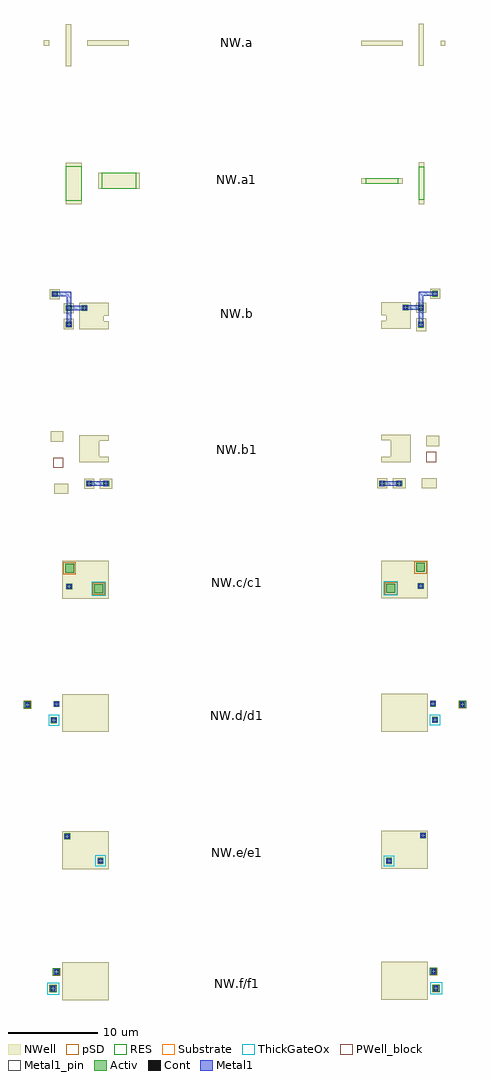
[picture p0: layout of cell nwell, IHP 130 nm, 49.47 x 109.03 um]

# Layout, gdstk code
from math import pi, radians
import gdstk
lib = gdstk.Library(unit=1e-6, precision=1e-09)
def R(c, l, rs):  # rectangles x0, y0, x1, y1
    for r in rs: c.add(gdstk.rectangle(r[:2], r[2:], *l))
def P(c, l, *ps):  # polygons
    for p in ps: c.add(gdstk.Polygon(p, *l))
Activ = (1, 0)
Cont = (6, 0)
Metal1 = (8, 0)
Metal1_pin = (8, 2)
pSD = (14, 0)
RES = (24, 0)
NWell = (31, 0)
Substrate = (40, 0)
ThickGateOx = (44, 0)
PWell_block = (46, 21)

ptap1_cdns_695810369580 = lib.new_cell('ptap1_CDNS_695810369580')
R(ptap1_cdns_695810369580, Activ, [(0,0,0.78,0.78)])
R(ptap1_cdns_695810369580, Cont, [(0.14,0.14,0.3,0.3), (0.48,0.14,0.64,0.3), (0.14,0.48,0.3,0.64), (0.48,0.48,0.64,0.64)])
R(ptap1_cdns_695810369580, Metal1, [(0.14,0.09,0.64,0.69)])
R(ptap1_cdns_695810369580, Metal1_pin, [(0.14,0.14,0.64,0.64)])
R(ptap1_cdns_695810369580, pSD, [(-0.03,-0.03,0.81,0.81)])
R(ptap1_cdns_695810369580, Substrate, [(0,0,0.78,0.78)])
ptap1_cdns_695810369580.add(gdstk.Label('sub!', (0.39,0.01), layer=63, texttype=0))

m1_activ_cdns_6958103695 = lib.new_cell('M1_Activ_CDNS_695810369580')
R(m1_activ_cdns_6958103695, Activ, [(-0.32,-0.32,0.32,0.32)])
R(m1_activ_cdns_6958103695, Cont, [(-0.25,-0.25,-0.09,-0.09), (0.09,-0.25,0.25,-0.09), (-0.25,0.09,-0.09,0.25), (0.09,0.09,0.25,0.25)])
R(m1_activ_cdns_6958103695, Metal1, [(-0.3,-0.25,0.3,0.25)])

nwell_pass = lib.new_cell('nwell_pass')
R(nwell_pass, Activ, [(-15.825,-73.755,-14.825,-72.755), (-19.1,-71.46,-18.1,-70.46)])
R(nwell_pass, Metal1, [(-20.675,-118.235,-20.175,-117.62), (-20.32,-116.37,-19.82,-115.735), (-23.56,-86.51,-23.06,-85.91), (-16.675,-61.76,-14.755,-61.26), (-18.92,-43.695,-18.42,-41.63), (-18.785,-42.125,-16.635,-41.625), (-18.92,-41.63,-18.42,-40.075), (-20.4,-40.575,-18.42,-40.075)])
R(nwell_pass, pSD, [(-16.005,-73.935,-14.645,-72.575), (-19.28,-71.64,-17.92,-70.28)])
R(nwell_pass, RES, [(-19.04,-29.915,-17.24,-26.06), (-15.015,-28.555,-11.16,-26.755)])
R(nwell_pass, NWell, [(-19.415,-119.195,-14.205,-114.965), (-19.415,-104.58,-14.205,-100.35), (-19.415,-89.245,-14.205,-85.015), (-19.415,-74.375,-14.205,-70.145), (-20.29,-62.645,-18.77,-61.545), (-16.97,-62.065,-15.85,-60.945), (-15.23,-62.065,-13.8,-60.945), (-20.725,-56.815,-19.295,-55.635), (-19.26,-44.285,-18.115,-43.075), (-19.235,-42.455,-18.115,-41.335), (-20.805,-40.885,-19.685,-39.765), (-19.04,-30.315,-17.24,-25.66), (-15.415,-28.555,-10.76,-26.755), (-19.04,-14.86,-18.42,-10.205), (-21.46,-12.615,-20.84,-11.995), (-16.62,-12.615,-11.965,-11.995)])
P(nwell_pass, NWell, [(-14.205,-43.355),(-14.8,-43.355),(-14.8,-42.735),(-14.205,-42.735),(-14.205,-41.315),(-17.495,-41.315),(-17.495,-44.265),(-14.205,-44.265)],
  [(-14.205,-58.525),(-15.275,-58.525),(-15.275,-56.725),(-14.205,-56.725),(-14.205,-56.105),(-17.495,-56.105),(-17.495,-59.145),(-14.205,-59.145)])
R(nwell_pass, ThickGateOx, [(-21.085,-118.595,-19.765,-117.27), (-15.735,-104.23,-14.555,-103.05), (-20.945,-88.53,-19.765,-87.35), (-16.1,-74.035,-14.535,-72.45)])
R(nwell_pass, PWell_block, [(-20.42,-59.745,-19.295,-58.615)])
nwell_pass.add(gdstk.Reference(ptap1_cdns_695810369580, (-23.7,-86.6)))
nwell_pass.add(gdstk.Reference(ptap1_cdns_695810369580, (-20.46,-116.435)))
nwell_pass.add(gdstk.Reference(ptap1_cdns_695810369580, (-20.815,-118.32)))
nwell_pass.add(gdstk.Reference(m1_activ_cdns_6958103695, (-14.505,-61.505), rotation=3*pi/2, x_reflection=True))
nwell_pass.add(gdstk.Reference(m1_activ_cdns_6958103695, (-16.41,-61.505), rotation=3*pi/2, x_reflection=True))
nwell_pass.add(gdstk.Reference(m1_activ_cdns_6958103695, (-20.245,-40.325)))
nwell_pass.add(gdstk.Reference(m1_activ_cdns_6958103695, (-18.675,-41.895)))
nwell_pass.add(gdstk.Reference(m1_activ_cdns_6958103695, (-20.355,-87.94)))
nwell_pass.add(gdstk.Reference(m1_activ_cdns_6958103695, (-18.63,-73)))
nwell_pass.add(gdstk.Reference(m1_activ_cdns_6958103695, (-15.145,-103.64)))
nwell_pass.add(gdstk.Reference(m1_activ_cdns_6958103695, (-18.855,-100.91)))
nwell_pass.add(gdstk.Reference(m1_activ_cdns_6958103695, (-16.935,-41.875)))
nwell_pass.add(gdstk.Reference(m1_activ_cdns_6958103695, (-18.675,-43.725)))
nwell_pass.add(gdstk.Reference(m1_activ_cdns_6958103695, (-20.045,-86.14)))

nwell_fail = lib.new_cell('nwell_fail')
R(nwell_fail, Activ, [(16.81,-73.72,17.81,-72.72), (20.11,-71.37,21.11,-70.37)])
R(nwell_fail, Metal1, [(22.11,-118.195,22.61,-117.585), (21.79,-116.3,22.29,-115.7), (25.065,-86.475,25.565,-85.85), (16.065,-61.735,17.985,-61.235), (20.42,-43.505,20.92,-41.585), (18.64,-42.08,20.855,-41.58), (20.42,-41.585,20.92,-40.045), (20.43,-40.545,22.385,-40.045)])
R(nwell_fail, pSD, [(16.63,-73.9,17.99,-72.54), (19.93,-71.55,21.29,-70.19)])
R(nwell_fail, RES, [(20.425,-29.77,21.045,-26.115), (14.47,-28.025,18.13,-27.405)])
R(nwell_fail, NWell, [(16.21,-119.15,21.42,-114.92), (16.21,-104.535,21.42,-100.305), (16.21,-89.2,21.42,-84.97), (16.21,-74.33,21.42,-70.1), (15.77,-62.04,16.89,-60.92), (17.51,-62.04,18.94,-60.895), (20.74,-62,22.43,-60.9), (21.25,-57.34,22.73,-56.14), (20.115,-44.46,21.26,-43.03), (20.115,-42.41,21.235,-41.29), (21.67,-40.855,22.79,-39.735), (20.425,-30.27,21.045,-25.615), (13.97,-28.025,18.625,-27.405), (20.425,-14.815,20.975,-10.16), (13.97,-12.57,18.625,-12.02), (22.845,-12.57,23.395,-12.02)])
P(nwell_fail, NWell, [(16.21,-43.31),(16.805,-43.31),(16.805,-42.695),(16.21,-42.695),(16.21,-41.27),(19.5,-41.27),(19.5,-44.22),(16.21,-44.22)],
  [(16.21,-58.48),(17.28,-58.48),(17.28,-56.685),(16.21,-56.685),(16.21,-56.065),(19.5,-56.065),(19.5,-59.1),(16.21,-59.1)])
R(nwell_fail, ThickGateOx, [(21.7,-118.55,23.02,-117.225), (16.51,-104.235,17.69,-103.055), (21.65,-88.485,22.83,-87.305), (16.52,-74,18.085,-72.415)])
R(nwell_fail, PWell_block, [(21.245,-59.1,22.37,-57.97)])
nwell_fail.add(gdstk.Reference(ptap1_cdns_695810369580, (22.43,-116.39), rotation=pi, x_reflection=True))
nwell_fail.add(gdstk.Reference(ptap1_cdns_695810369580, (22.75,-118.275), rotation=pi, x_reflection=True))
nwell_fail.add(gdstk.Reference(ptap1_cdns_695810369580, (25.705,-86.555), rotation=pi, x_reflection=True))
nwell_fail.add(gdstk.Reference(m1_activ_cdns_6958103695, (18.235,-61.48), rotation=3*pi/2, x_reflection=True))
nwell_fail.add(gdstk.Reference(m1_activ_cdns_6958103695, (16.33,-61.48), rotation=3*pi/2, x_reflection=True))
nwell_fail.add(gdstk.Reference(m1_activ_cdns_6958103695, (22.23,-40.295), rotation=pi, x_reflection=True))
nwell_fail.add(gdstk.Reference(m1_activ_cdns_6958103695, (17.1,-103.645), rotation=pi, x_reflection=True))
nwell_fail.add(gdstk.Reference(m1_activ_cdns_6958103695, (18.94,-41.83), rotation=pi, x_reflection=True))
nwell_fail.add(gdstk.Reference(m1_activ_cdns_6958103695, (20.635,-72.955), rotation=pi, x_reflection=True))
nwell_fail.add(gdstk.Reference(m1_activ_cdns_6958103695, (20.675,-41.85), rotation=pi, x_reflection=True))
nwell_fail.add(gdstk.Reference(m1_activ_cdns_6958103695, (20.675,-43.755), rotation=pi, x_reflection=True))
nwell_fail.add(gdstk.Reference(m1_activ_cdns_6958103695, (20.88,-100.825), rotation=pi, x_reflection=True))
nwell_fail.add(gdstk.Reference(m1_activ_cdns_6958103695, (21.99,-86.095), rotation=pi, x_reflection=True))
nwell_fail.add(gdstk.Reference(m1_activ_cdns_6958103695, (22.24,-87.895), rotation=pi, x_reflection=True))

nwell = lib.new_cell('nwell')
nwell.add(gdstk.Reference(nwell_pass, (0,0)))
nwell.add(gdstk.Reference(nwell_fail, (0,0)))
nwell.add(gdstk.Label('FAIL', (12,5), layer=63, texttype=0))
nwell.add(gdstk.Label('PASS', (-12,5), layer=63, texttype=0))
nwell.add(gdstk.Label('NW.f/f1', (0,-117.365), layer=63, texttype=0))
nwell.add(gdstk.Label('NW.e/e1', (0,-102.75), layer=63, texttype=0))
nwell.add(gdstk.Label('NW.d/d1', (0,-87.415), layer=63, texttype=0))
nwell.add(gdstk.Label('NW.c/c1', (0,-72.545), layer=63, texttype=0))
nwell.add(gdstk.Label('NW.b1', (0,-57.675), layer=63, texttype=0))
nwell.add(gdstk.Label('NW.b', (0,-42.485), layer=63, texttype=0))
nwell.add(gdstk.Label('NW.a', (0,-12.225), layer=63, texttype=0))
nwell.add(gdstk.Label('NW.a1', (0,-27.495), layer=63, texttype=0))
nwell.add(gdstk.Label('4.1_NWELL', (0,21), layer=63, texttype=0))

lib.write_gds('nwell.gds')
